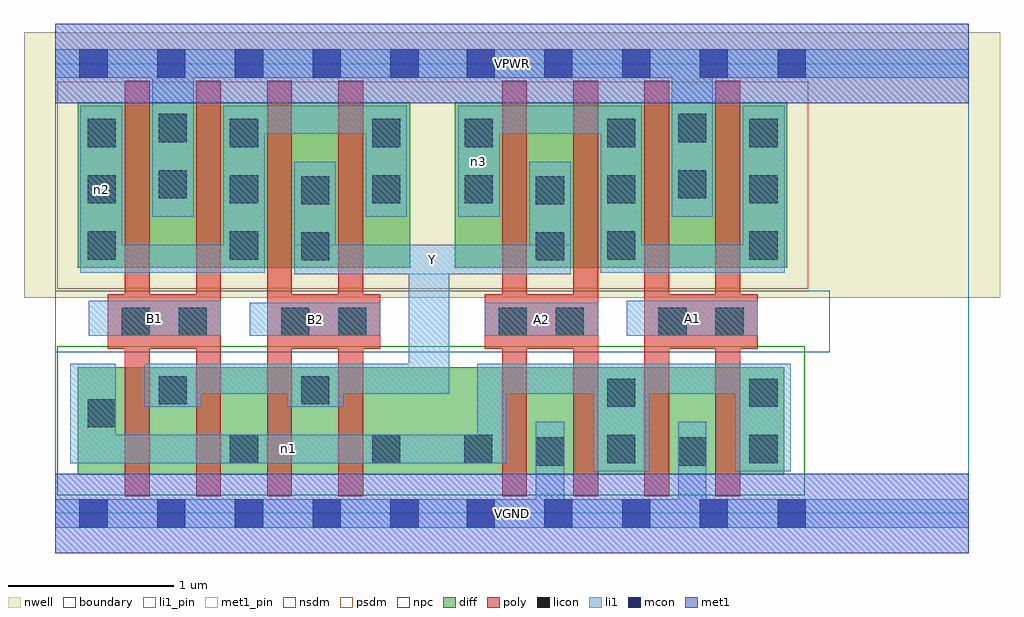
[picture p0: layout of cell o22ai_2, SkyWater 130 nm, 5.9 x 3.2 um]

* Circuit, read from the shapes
.subckt o22ai_2 A1 A2 B1 B2 VGND VPWR Y n1 n2 n3
XM1 Y B1 n1 VSUBS sky130_fd_pr__nfet_01v8 w=0.65 l=0.15 m=2
XM2 Y B2 n1 VSUBS sky130_fd_pr__nfet_01v8 w=0.65 l=0.15 m=2
XM3 VGND A2 n1 VSUBS sky130_fd_pr__nfet_01v8 w=0.65 l=0.15 m=2
XM4 VGND A1 n1 VSUBS sky130_fd_pr__nfet_01v8 w=0.65 l=0.15 m=2
XM5 VPWR B1 n2 n4 sky130_fd_pr__pfet_01v8 w=1 l=0.15 m=2
XM6 Y B2 n2 n4 sky130_fd_pr__pfet_01v8 w=1 l=0.15 m=2
XM7 Y A2 n3 n4 sky130_fd_pr__pfet_01v8 w=1 l=0.15 m=2
XM8 VPWR A1 n3 n4 sky130_fd_pr__pfet_01v8 w=1 l=0.15 m=2
.ends

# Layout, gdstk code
import gdstk
lib = gdstk.Library(unit=1e-6, precision=1e-09)
def R(c, l, rs):  # rectangles x0, y0, x1, y1
    for r in rs: c.add(gdstk.rectangle(r[:2], r[2:], *l))
def A(c, l, x, y, w, h, nx, ny, dx, dy):  # array of equal rectangles
    R(c, l, [(x+i*dx, y+j*dy, x+i*dx+w, y+j*dy+h) for i in range(nx) for j in range(ny)])
nwell = (64, 20)
diff = (65, 20)
poly = (66, 20)
licon = (66, 44)
li1_pin = (67, 16)
li1 = (67, 20)
mcon = (67, 44)
met1_pin = (68, 16)
met1 = (68, 20)
nsdm = (93, 44)
psdm = (94, 20)
npc = (95, 20)
boundary = (235, 4)

o22ai_2 = lib.new_cell('o22ai_2')
R(o22ai_2, nwell, [(-0.19,1.305,5.71,2.91), (0,1.305,5.52,2.91)])
R(o22ai_2, diff, [(0.135,0.235,4.405,0.885), (0.135,1.485,2.145,2.485), (2.415,1.485,4.425,2.485)])
A(o22ai_2, poly, 0.42, 0.105, 0.15, 2.51, 4, 1, 0.43, 0)
A(o22ai_2, poly, 2.7, 0.105, 0.15, 2.51, 4, 1, 0.43, 0)
R(o22ai_2, poly, [(0.315,0.995,1,1.325), (1.28,0.995,1.965,1.325), (2.595,0.995,3.28,1.325), (3.56,0.995,4.245,1.325)])
A(o22ai_2, licon, 0.195, 1.875, 0.17, 0.17, 3, 2, 0.86, 0.34)
A(o22ai_2, licon, 2.475, 1.875, 0.17, 0.17, 3, 2, 0.86, 0.34)
R(o22ai_2, licon, [(2.905,0.29,3.075,0.46), (3.765,0.29,3.935,0.46), (1.055,0.305,1.225,0.475), (1.915,0.305,2.085,0.475), (2.47,0.305,2.64,0.475), (3.335,0.305,3.505,0.475), (4.195,0.305,4.365,0.475), (0.195,0.52,0.365,0.69), (3.335,0.645,3.505,0.815), (4.195,0.645,4.365,0.815), (0.625,0.66,0.795,0.83), (1.485,0.66,1.655,0.83), (0.4,1.075,0.57,1.245), (0.745,1.075,0.915,1.245), (1.365,1.075,1.535,1.245), (1.71,1.075,1.88,1.245), (2.68,1.075,2.85,1.245), (3.025,1.075,3.195,1.245), (3.645,1.075,3.815,1.245), (3.99,1.075,4.16,1.245), (1.485,1.53,1.655,1.7), (2.905,1.53,3.075,1.7), (0.195,1.535,0.365,1.705), (1.055,1.535,1.225,1.705), (3.335,1.535,3.505,1.705), (4.195,1.535,4.365,1.705), (1.485,1.87,1.655,2.04), (2.905,1.87,3.075,2.04), (0.625,1.905,0.795,2.075), (3.765,1.905,3.935,2.075), (0.625,2.245,0.795,2.415), (3.765,2.245,3.935,2.415)])
R(o22ai_2, li1_pin, [(0.2,1.075,1,1.285), (1.175,1.075,1.965,1.275), (2.595,1.075,3.28,1.275), (3.455,1.075,4.245,1.285), (1.445,1.445,3.115,1.625)])
R(o22ai_2, li1, [(0,-0.085,5.52,0.085), (2.905,-0.085,3.075,0.555), (3.765,-0.085,3.935,0.555), (3.25,0.255,3.59,0.905), (4.11,0.255,4.445,0.905), (0.09,0.305,2.725,0.475), (0.09,0.305,0.365,0.905), (2.55,0.305,2.725,0.905), (0.54,0.645,0.88,0.905), (1.4,0.645,1.74,0.905), (0.54,0.725,2.38,0.905), (2.135,0.725,2.38,1.625), (2.55,0.725,4.445,0.905), (0.2,1.075,1,1.285), (1.175,1.075,1.965,1.275), (2.595,1.075,3.28,1.275), (3.455,1.075,4.245,1.285), (1.445,1.445,3.115,1.625), (1.445,1.445,1.695,2.125), (2.865,1.445,3.115,2.125), (0.15,1.455,0.405,2.465), (0.15,1.455,1.265,1.625), (1.015,1.455,1.265,2.465), (3.295,1.455,4.41,1.625), (3.295,1.455,3.545,2.465), (4.155,1.455,4.41,2.465), (0.585,1.795,0.835,2.805), (1.875,1.795,2.125,2.465), (2.435,1.795,2.685,2.465), (3.725,1.795,3.975,2.805), (1.015,2.295,2.125,2.465), (2.435,2.295,3.545,2.465), (0,2.635,5.52,2.805)])
A(o22ai_2, mcon, 0.145, -0.085, 0.17, 0.17, 5, 2, 0.47, 2.72)
A(o22ai_2, mcon, 2.485, -0.085, 0.17, 0.17, 5, 2, 0.47, 2.72)
R(o22ai_2, met1_pin, [(0,-0.24,5.52,0.24), (0,2.48,5.52,2.96)])
R(o22ai_2, met1, [(0,-0.24,5.52,0.24), (0,2.48,5.52,2.96)])
R(o22ai_2, nsdm, [(0.01,0.11,4.53,1.01)])
R(o22ai_2, psdm, [(0.01,1.36,4.55,2.61)])
R(o22ai_2, npc, [(0,0.975,4.68,1.345)])
R(o22ai_2, boundary, [(0,0,5.52,2.72)])
o22ai_2.add(gdstk.Label('A1', (3.85,1.18), layer=67, texttype=5))
o22ai_2.add(gdstk.Label('A2', (2.937,1.175), layer=67, texttype=5))
o22ai_2.add(gdstk.Label('B1', (0.6,1.18), layer=67, texttype=5))
o22ai_2.add(gdstk.Label('B2', (1.57,1.175), layer=67, texttype=5))
o22ai_2.add(gdstk.Label('Y', (2.28,1.535), layer=67, texttype=5))
o22ai_2.add(gdstk.Label('n1', (1.407,0.39), layer=67, texttype=5))
o22ai_2.add(gdstk.Label('n2', (0.277,1.96), layer=67, texttype=5))
o22ai_2.add(gdstk.Label('n3', (2.56,2.13), layer=67, texttype=5))
o22ai_2.add(gdstk.Label('VPWR', (2.76,2.72), layer=68, texttype=5))
o22ai_2.add(gdstk.Label('VGND', (2.76,0), layer=68, texttype=5))
o22ai_2.add(gdstk.Label('A1', (3.85,1.18), layer=67, texttype=16))
o22ai_2.add(gdstk.Label('A2', (2.937,1.175), layer=67, texttype=16))
o22ai_2.add(gdstk.Label('B1', (0.6,1.18), layer=67, texttype=16))
o22ai_2.add(gdstk.Label('B2', (1.57,1.175), layer=67, texttype=16))
o22ai_2.add(gdstk.Label('Y', (2.28,1.535), layer=67, texttype=16))
o22ai_2.add(gdstk.Label('VPWR', (2.76,2.72), layer=68, texttype=16))
o22ai_2.add(gdstk.Label('VGND', (2.76,0), layer=68, texttype=16))

lib.write_gds('o22ai_2.gds')
